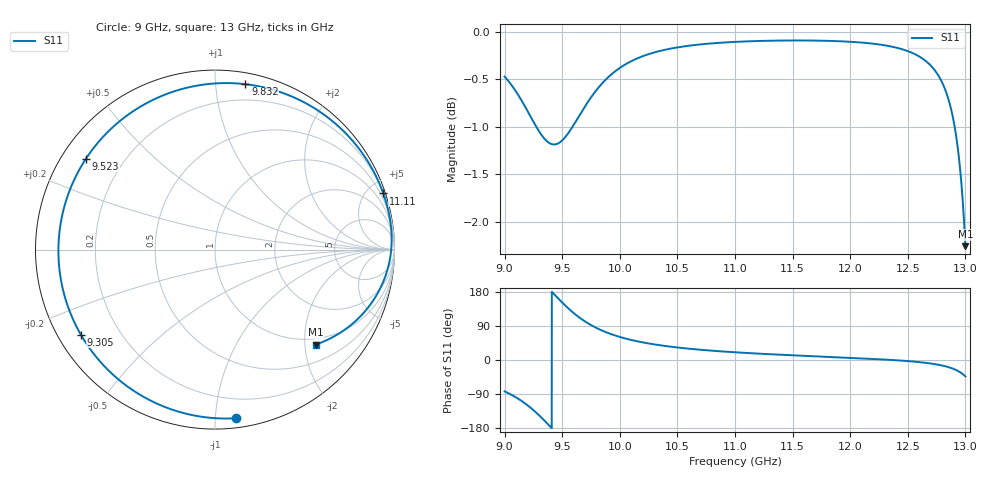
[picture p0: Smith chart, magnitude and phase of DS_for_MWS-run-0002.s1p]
! TOUCHSTONE file generated by CST DESIGN STUDIO
! Date and time: Tue Feb  4 18:23:02 2025
! Project name: C:\Work\MatlabApps\UnitCellOptimizationMatlab\CST\unitcell.cst
! Tree item: Tasks\Sweep1\SPara1\S-Parameters
! Header version: 2024
! Port assignment regex: !\s*Touchstone port\s*([0-9]+)\s*=\s*(CST MWS port|CST DES external port|CST DES block port)\s*(.+)\s* \(\"(.*)\"\)(\s*mode\s*([0-9]+))?.*
! Touchstone port assignment:
! Touchstone port 1 = CST DES external port 1 ("")
# GHz S MA R 50
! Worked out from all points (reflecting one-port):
!   4001 points, 9 GHz to 13 GHz, reference 50 ohm
!   lowest |S11| = -2.3 dB at 13 GHz (marker M1), VSWR 7.73, Z = 42.9 - j112 ohm
!   phase of S11 starts at -83 deg and turns -321 deg over the sweep
!   S11 on the Smith chart (normalised r, x): 9 GHz: 0.06, -1.13; 9.305 GHz: 0.07, -0.29; 9.523 GHz: 0.07, +0.32; 9.832 GHz: 0.08, +1.20; 11.11 GHz: 0.23, +6.15; 13 GHz: 0.86, -2.24
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9  0.947 -82.8
9.091  0.9315 -97.2
9.167  0.9156 -112.2
9.236  0.8998 -128.6
9.305  0.8851 -147.6
9.356  0.8769 -163.1
9.403  0.8728 -177.9
9.45  0.8726 167.1
9.5  0.8765 151.6
9.523  0.8795 144.8
9.591  0.8914 126.1
9.661  0.9058 109.5
9.739  0.9213 94.1
9.832  0.9371 79.6
9.913  0.9479 69.5
10  0.957 60.8
10.101  0.9649 52.8
10.216  0.9715 45.5
10.5  0.981 33.0
11  0.9876 20.4
11.106  0.9883 18.4
11.5  0.9893 12.4
12  0.9878 5.8
12.5  0.9767 -2.8
12.695  0.9603 -9.0
12.84  0.9266 -17.7
12.926  0.8759 -27.4
13  0.771 -43.3
